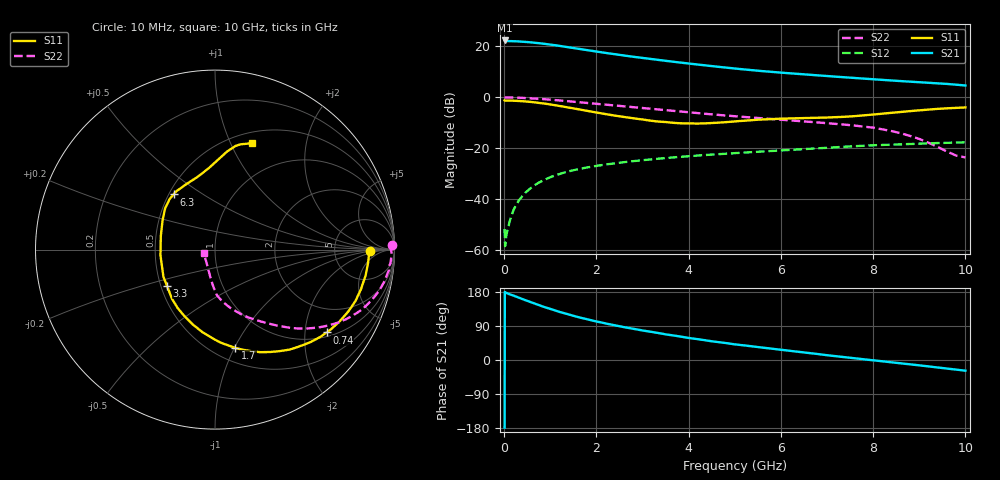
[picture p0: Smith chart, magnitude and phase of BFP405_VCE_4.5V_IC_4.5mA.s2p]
! Infineon Technologies  Discrete & RF Semiconductors
! BFP405
! VCE =  4.5 V,  IC =  4.5 mA
! Common Emitter S-Parameters:  Jan 2016
# GHz  S  MA  R  50
!  f  S11  S21  S12  S22
! GHz  MAG  ANG  MAG  ANG  MAG  ANG  MAG  ANG
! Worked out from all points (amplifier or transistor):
!   233 points, 10 MHz to 10 GHz, reference 50 ohm
!   highest |S21| = 22.2 dB at 10 MHz (marker M1)
!   |S21| within 3 dB of that: start of sweep to 1.52 GHz
!   unconditionally stable (mu >= 1): 12.83 MHz to 27.96 MHz; 3.537 GHz to end of sweep
!   at 200 MHz: K = 0.26, MSG = 33.2 dB, |S12| = -44.4 dB
!   at 1.74 GHz: K = 0.53, MSG = 23.2 dB, |S12| = -27.8 dB
!   at 10 GHz: K = 1.46, MAG = 7.1 dB, |S12| = -17.7 dB
!   S11 on the Smith chart (normalised r, x): 10 MHz: 14, -1; 740 MHz: 1.12, -2.59; 1.7 GHz: 0.63, -1.01; 3.3 GHz: 0.54, -0.24; 6.3 GHz: 0.53, +0.38; 10 GHz: 0.62, +1.21
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0.01  0.8638 -0.6  12.89 -178.5  0.0026 -16.3  0.9848 1.4
0.02  0.8547 -0.5  12.73 177.7  0.0012 29.9  0.9789 0.1
0.05  0.8579 -2.4  12.56 177.1  0.002 47.8  0.9834 -0.7
0.26  0.8448 -13.1  12.43 167.2  0.0077 76.0  0.9723 -5.9
0.5  0.8181 -25.1  12.03 156.1  0.0145 74.2  0.9577 -11.1
0.74  0.7742 -36.6  11.44 145.5  0.0208 70.0  0.9292 -16.1
0.9  0.7408 -44.1  11.01 138.6  0.0246 67.2  0.9071 -19.2
1.14  0.6854 -54.8  10.29 129.2  0.0299 63.1  0.8708 -23.5
1.4  0.6251 -66.1  9.492 119.9  0.0351 59.2  0.8296 -27.7
1.68  0.5632 -77.5  8.672 110.8  0.04 55.5  0.7861 -31.6
1.7  0.5594 -78.3  8.616 110.2  0.0403 55.3  0.783 -31.8
2  0.4993 -90.5  7.817 101.7  0.0449 51.8  0.7393 -35.5
2.4  0.4346 -106.7  6.916 91.4  0.0505 48.0  0.6856 -39.8
2.86  0.3786 -125.2  6.071 81.0  0.0563 44.3  0.6285 -44.3
3.3  0.335 -143.2  5.405 72.1  0.0616 40.9  0.5772 -48.2
3.4  0.329 -147.6  5.271 70.0  0.0628 40.2  0.5659 -49.1
4  0.3055 -174.1  4.552 58.2  0.0696 36.0  0.5035 -54.6
5.1  0.3394 148.4  3.56 40.0  0.081 29.0  0.4152 -64.5
6.3  0.3842 126.9  2.882 22.9  0.0937 22.3  0.3457 -73.6
6.8  0.3934 117.5  2.669 15.7  0.0997 19.2  0.3189 -77.6
8.4  0.4938 88.9  2.116 -6.2  0.1175 7.3  0.2161 -91.5
10  0.6281 70.7  1.69 -28.2  0.13 -4.1  0.0658 -163.1
